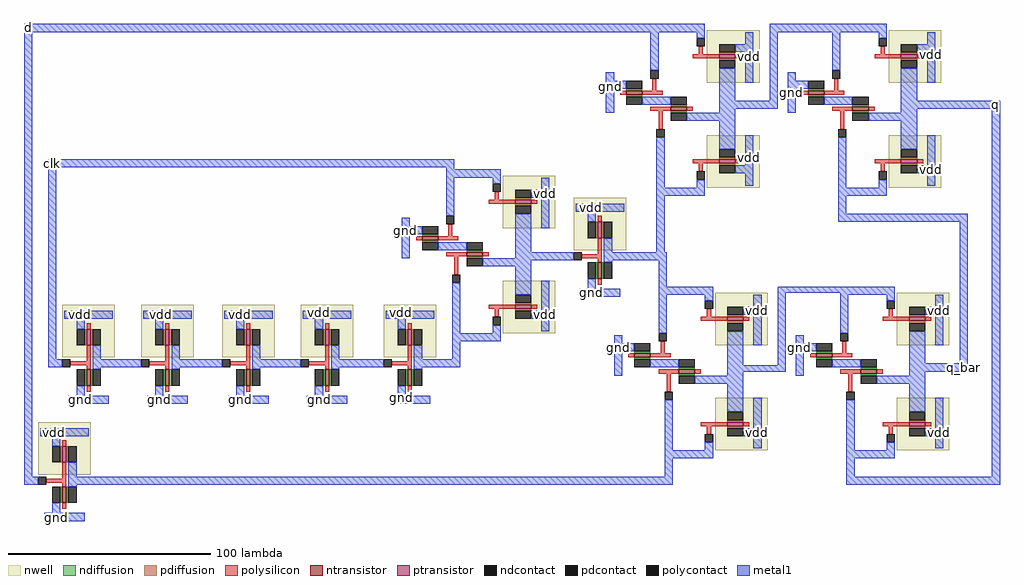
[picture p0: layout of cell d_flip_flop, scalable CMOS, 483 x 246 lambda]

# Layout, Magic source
magic
tech scmos
<< nwell >>
rect 143 83 169 109
rect 233 83 259 109
rect 42 11 68 37
rect 143 31 169 57
rect 233 31 259 57
rect 77 0 103 26
rect -176 -53 -150 -27
rect -137 -53 -111 -27
rect -97 -53 -71 -27
rect -58 -53 -32 -27
rect -17 -53 9 -27
rect 42 -41 68 -15
rect 147 -47 173 -21
rect 237 -47 263 -21
rect -188 -111 -162 -85
rect 147 -99 173 -73
rect 237 -99 263 -73
<< ntransistor >>
rect 103 77 111 79
rect 193 77 201 79
rect 125 69 133 71
rect 215 69 223 71
rect 2 5 10 7
rect 24 -3 32 -1
rect 89 -14 91 -6
rect 107 -53 115 -51
rect 197 -53 205 -51
rect -164 -67 -162 -59
rect -125 -67 -123 -59
rect -85 -67 -83 -59
rect -46 -67 -44 -59
rect -5 -67 -3 -59
rect 129 -61 137 -59
rect 219 -61 227 -59
rect -176 -125 -174 -117
<< ptransistor >>
rect 149 95 157 97
rect 239 95 247 97
rect 149 43 157 45
rect 239 43 247 45
rect 48 23 56 25
rect 89 6 91 14
rect 48 -29 56 -27
rect 153 -35 161 -33
rect 243 -35 251 -33
rect -164 -47 -162 -39
rect -125 -47 -123 -39
rect -85 -47 -83 -39
rect -46 -47 -44 -39
rect -5 -47 -3 -39
rect 153 -87 161 -85
rect 243 -87 251 -85
rect -176 -105 -174 -97
<< ndiffusion >>
rect 103 79 111 80
rect 193 79 201 80
rect 103 76 111 77
rect 193 76 201 77
rect 125 71 133 72
rect 215 71 223 72
rect 125 68 133 69
rect 215 68 223 69
rect 2 7 10 8
rect 2 4 10 5
rect 24 -1 32 0
rect 24 -4 32 -3
rect 88 -14 89 -6
rect 91 -14 92 -6
rect 107 -51 115 -50
rect 197 -51 205 -50
rect 107 -54 115 -53
rect 197 -54 205 -53
rect 129 -59 137 -58
rect 219 -59 227 -58
rect -165 -67 -164 -59
rect -162 -67 -161 -59
rect -126 -67 -125 -59
rect -123 -67 -122 -59
rect -86 -67 -85 -59
rect -83 -67 -82 -59
rect -47 -67 -46 -59
rect -44 -67 -43 -59
rect -6 -67 -5 -59
rect -3 -67 -2 -59
rect 129 -62 137 -61
rect 219 -62 227 -61
rect -177 -125 -176 -117
rect -174 -125 -173 -117
<< pdiffusion >>
rect 149 97 157 98
rect 239 97 247 98
rect 149 94 157 95
rect 239 94 247 95
rect 149 45 157 46
rect 239 45 247 46
rect 149 42 157 43
rect 239 42 247 43
rect 48 25 56 26
rect 48 22 56 23
rect 88 6 89 14
rect 91 6 92 14
rect 48 -27 56 -26
rect 48 -30 56 -29
rect 153 -33 161 -32
rect 243 -33 251 -32
rect 153 -36 161 -35
rect -165 -47 -164 -39
rect -162 -47 -161 -39
rect -126 -47 -125 -39
rect -123 -47 -122 -39
rect -86 -47 -85 -39
rect -83 -47 -82 -39
rect -47 -47 -46 -39
rect -44 -47 -43 -39
rect -6 -47 -5 -39
rect -3 -47 -2 -39
rect 243 -36 251 -35
rect 153 -85 161 -84
rect 243 -85 251 -84
rect 153 -88 161 -87
rect 243 -88 251 -87
rect -177 -105 -176 -97
rect -174 -105 -173 -97
<< ndcontact >>
rect 103 80 111 84
rect 193 80 201 84
rect 103 72 111 76
rect 125 72 133 76
rect 193 72 201 76
rect 215 72 223 76
rect 125 64 133 68
rect 215 64 223 68
rect 2 8 10 12
rect 2 0 10 4
rect 24 0 32 4
rect 24 -8 32 -4
rect 84 -14 88 -6
rect 92 -14 96 -6
rect 107 -50 115 -46
rect 197 -50 205 -46
rect 107 -58 115 -54
rect 129 -58 137 -54
rect 197 -58 205 -54
rect 219 -58 227 -54
rect -169 -67 -165 -59
rect -161 -67 -157 -59
rect -130 -67 -126 -59
rect -122 -67 -118 -59
rect -90 -67 -86 -59
rect -82 -67 -78 -59
rect -51 -67 -47 -59
rect -43 -67 -39 -59
rect -10 -67 -6 -59
rect -2 -67 2 -59
rect 129 -66 137 -62
rect 219 -66 227 -62
rect -181 -125 -177 -117
rect -173 -125 -169 -117
<< pdcontact >>
rect 149 98 157 102
rect 239 98 247 102
rect 149 90 157 94
rect 239 90 247 94
rect 149 46 157 50
rect 239 46 247 50
rect 149 38 157 42
rect 239 38 247 42
rect 48 26 56 30
rect 48 18 56 22
rect 84 6 88 14
rect 92 6 96 14
rect 48 -26 56 -22
rect 48 -34 56 -30
rect 153 -32 161 -28
rect 243 -32 251 -28
rect -169 -47 -165 -39
rect -161 -47 -157 -39
rect -130 -47 -126 -39
rect -122 -47 -118 -39
rect -90 -47 -86 -39
rect -82 -47 -78 -39
rect -51 -47 -47 -39
rect -43 -47 -39 -39
rect -10 -47 -6 -39
rect -2 -47 2 -39
rect 153 -40 161 -36
rect 243 -40 251 -36
rect 153 -84 161 -80
rect 243 -84 251 -80
rect 153 -92 161 -88
rect 243 -92 251 -88
rect -181 -105 -177 -97
rect -173 -105 -169 -97
<< polysilicon >>
rect 139 97 141 101
rect 229 97 231 101
rect 136 95 149 97
rect 157 95 160 97
rect 226 95 239 97
rect 247 95 250 97
rect 116 79 118 85
rect 206 79 208 85
rect 100 77 103 79
rect 111 77 121 79
rect 190 77 193 79
rect 201 77 211 79
rect 115 69 125 71
rect 133 69 136 71
rect 205 69 215 71
rect 223 69 226 71
rect 119 60 121 69
rect 209 60 211 69
rect 136 43 149 45
rect 157 43 160 45
rect 226 43 239 45
rect 247 43 250 45
rect 139 39 141 43
rect 229 39 231 43
rect 38 25 40 29
rect 35 23 48 25
rect 56 23 59 25
rect 89 14 91 17
rect 15 7 17 13
rect -1 5 2 7
rect 10 5 20 7
rect 14 -3 24 -1
rect 32 -3 35 -1
rect 18 -12 20 -3
rect 89 -2 91 6
rect 81 -4 91 -2
rect 89 -6 91 -4
rect 89 -17 91 -14
rect 35 -29 48 -27
rect 56 -29 59 -27
rect 38 -33 40 -29
rect -164 -39 -162 -36
rect -125 -39 -123 -36
rect -85 -39 -83 -36
rect -46 -39 -44 -36
rect -5 -39 -3 -36
rect 143 -33 145 -29
rect 233 -33 235 -29
rect 140 -35 153 -33
rect 161 -35 164 -33
rect 230 -35 243 -33
rect 251 -35 254 -33
rect -164 -55 -162 -47
rect -172 -57 -162 -55
rect -164 -59 -162 -57
rect -125 -55 -123 -47
rect -133 -57 -123 -55
rect -125 -59 -123 -57
rect -85 -55 -83 -47
rect -93 -57 -83 -55
rect -85 -59 -83 -57
rect -46 -55 -44 -47
rect -54 -57 -44 -55
rect -46 -59 -44 -57
rect -5 -55 -3 -47
rect 120 -51 122 -45
rect 210 -51 212 -45
rect 104 -53 107 -51
rect 115 -53 125 -51
rect 194 -53 197 -51
rect 205 -53 215 -51
rect -13 -57 -3 -55
rect -5 -59 -3 -57
rect 119 -61 129 -59
rect 137 -61 140 -59
rect 209 -61 219 -59
rect 227 -61 230 -59
rect -164 -70 -162 -67
rect -125 -70 -123 -67
rect -85 -70 -83 -67
rect -46 -70 -44 -67
rect -5 -70 -3 -67
rect 123 -70 125 -61
rect 213 -70 215 -61
rect 140 -87 153 -85
rect 161 -87 164 -85
rect 230 -87 243 -85
rect 251 -87 254 -85
rect 143 -91 145 -87
rect -176 -97 -174 -94
rect 233 -91 235 -87
rect -176 -113 -174 -105
rect -184 -115 -174 -113
rect -176 -117 -174 -115
rect -176 -128 -174 -125
<< polycontact >>
rect 138 101 142 105
rect 228 101 232 105
rect 115 85 119 89
rect 205 85 209 89
rect 118 56 122 60
rect 208 56 212 60
rect 138 35 142 39
rect 228 35 232 39
rect 37 29 41 33
rect 14 13 18 17
rect 77 -5 81 -1
rect 17 -16 21 -12
rect 142 -29 146 -25
rect 37 -37 41 -33
rect 232 -29 236 -25
rect 119 -45 123 -41
rect 209 -45 213 -41
rect -176 -58 -172 -54
rect -137 -58 -133 -54
rect -97 -58 -93 -54
rect -58 -58 -54 -54
rect -17 -58 -13 -54
rect 122 -74 126 -70
rect 212 -74 216 -70
rect 142 -95 146 -91
rect 232 -95 236 -91
rect -188 -116 -184 -112
<< metal1 >>
rect -195 108 142 112
rect 174 108 232 112
rect -195 -112 -191 108
rect 115 89 119 108
rect 138 105 142 108
rect 162 102 166 108
rect 157 98 166 102
rect 93 84 97 88
rect 93 80 103 84
rect 93 68 97 80
rect 111 72 125 76
rect 149 74 157 90
rect 162 83 166 98
rect 174 74 178 108
rect 205 89 209 108
rect 228 105 232 108
rect 252 102 256 108
rect 247 98 256 102
rect 149 70 178 74
rect 183 84 187 88
rect 183 80 193 84
rect 149 68 157 70
rect 183 68 187 80
rect 201 72 215 76
rect 239 74 247 90
rect 252 83 256 98
rect 239 70 288 74
rect 239 68 247 70
rect 133 64 157 68
rect 223 64 247 68
rect -183 41 18 45
rect -183 -54 -179 41
rect 14 40 18 41
rect 14 36 41 40
rect 14 17 18 36
rect 37 33 41 36
rect 61 30 65 36
rect 56 26 65 30
rect -8 12 -4 16
rect -8 8 2 12
rect -8 -4 -4 8
rect 10 0 24 4
rect 48 -1 56 18
rect 61 11 65 26
rect 118 31 122 56
rect 149 50 157 64
rect 162 42 166 57
rect 157 38 166 42
rect 138 31 142 35
rect 162 32 166 38
rect 118 27 142 31
rect 208 31 212 56
rect 239 50 247 64
rect 252 42 256 57
rect 247 38 256 42
rect 228 31 232 35
rect 252 32 256 38
rect 208 27 232 31
rect 78 19 102 23
rect 84 14 88 19
rect 92 -1 96 6
rect 118 -1 122 27
rect 208 18 212 27
rect 208 14 272 18
rect 48 -4 77 -1
rect 32 -5 77 -4
rect 92 -5 123 -1
rect 32 -8 56 -5
rect 92 -6 96 -5
rect -175 -34 -151 -30
rect -136 -34 -112 -30
rect -96 -34 -72 -30
rect -57 -34 -33 -30
rect -16 -34 8 -30
rect -169 -39 -165 -34
rect -130 -39 -126 -34
rect -90 -39 -86 -34
rect -51 -39 -47 -34
rect -10 -39 -6 -34
rect -161 -54 -157 -47
rect -122 -54 -118 -47
rect -82 -54 -78 -47
rect -43 -54 -39 -47
rect -2 -54 2 -47
rect 17 -41 21 -16
rect 48 -22 56 -8
rect 61 -30 65 -15
rect 84 -19 88 -14
rect 119 -18 123 -5
rect 80 -23 100 -19
rect 119 -22 146 -18
rect 178 -21 236 -18
rect 56 -34 65 -30
rect 37 -41 41 -37
rect 61 -40 65 -34
rect 17 -45 41 -41
rect 119 -41 123 -22
rect 142 -25 146 -22
rect 166 -28 170 -22
rect 161 -32 170 -28
rect 17 -54 21 -45
rect -183 -58 -176 -54
rect -161 -58 -137 -54
rect -122 -58 -97 -54
rect -82 -58 -58 -54
rect -43 -58 -17 -54
rect -2 -58 21 -54
rect 97 -46 101 -42
rect 97 -50 107 -46
rect -161 -59 -157 -58
rect -122 -59 -118 -58
rect -82 -59 -78 -58
rect -43 -59 -39 -58
rect -2 -59 2 -58
rect 97 -62 101 -50
rect 115 -58 129 -54
rect 153 -57 161 -40
rect 166 -47 170 -32
rect 178 -57 182 -21
rect 209 -22 236 -21
rect 209 -41 213 -22
rect 232 -25 236 -22
rect 256 -28 260 -22
rect 251 -32 260 -28
rect 153 -60 182 -57
rect 187 -46 191 -42
rect 187 -50 197 -46
rect 153 -62 161 -60
rect 187 -62 191 -50
rect 205 -58 219 -54
rect 243 -56 251 -40
rect 256 -47 260 -32
rect 268 -56 272 14
rect 243 -60 272 -56
rect 243 -62 251 -60
rect 137 -66 161 -62
rect 227 -66 251 -62
rect -169 -72 -165 -67
rect -130 -72 -126 -67
rect -90 -72 -86 -67
rect -51 -72 -47 -67
rect -10 -72 -6 -67
rect -173 -76 -153 -72
rect -134 -76 -114 -72
rect -94 -76 -74 -72
rect -55 -76 -35 -72
rect -14 -76 6 -72
rect -187 -92 -163 -88
rect -181 -97 -177 -92
rect -173 -112 -169 -105
rect 122 -99 126 -74
rect 153 -80 161 -66
rect 166 -88 170 -73
rect 161 -92 170 -88
rect 142 -99 146 -95
rect 166 -98 170 -92
rect 122 -103 146 -99
rect 212 -99 216 -74
rect 243 -80 251 -66
rect 256 -88 260 -73
rect 251 -92 260 -88
rect 232 -99 236 -95
rect 256 -98 260 -92
rect 212 -103 236 -99
rect 122 -112 126 -103
rect -195 -116 -188 -112
rect -173 -116 126 -112
rect 212 -112 216 -103
rect 284 -112 288 70
rect 212 -116 288 -112
rect -173 -117 -169 -116
rect -181 -130 -177 -125
rect -185 -134 -165 -130
<< labels >>
rlabel metal1 95 81 95 81 1 gnd
rlabel metal1 164 96 164 96 1 vdd
rlabel metal1 164 46 164 46 1 vdd
rlabel metal1 168 -30 168 -30 1 vdd
rlabel metal1 168 -90 168 -90 1 vdd
rlabel metal1 99 -48 99 -48 1 gnd
rlabel metal1 86 21 86 21 1 vdd
rlabel metal1 86 -21 86 -21 1 gnd
rlabel metal1 63 28 63 28 1 vdd
rlabel metal1 63 -32 63 -32 1 vdd
rlabel metal1 -6 10 -6 10 1 gnd
rlabel metal1 -167 -32 -167 -32 1 vdd
rlabel metal1 -127 -32 -127 -32 1 vdd
rlabel metal1 -128 -74 -128 -74 1 gnd
rlabel metal1 -167 -74 -167 -74 1 gnd
rlabel metal1 -88 -32 -88 -32 1 vdd
rlabel metal1 -88 -74 -88 -74 1 gnd
rlabel metal1 -49 -31 -49 -31 1 vdd
rlabel metal1 -49 -74 -49 -74 1 gnd
rlabel metal1 -8 -31 -8 -31 1 vdd
rlabel metal1 -8 -73 -8 -73 1 gnd
rlabel metal1 -179 -132 -179 -132 1 gnd
rlabel metal1 -180 -90 -180 -90 1 vdd
rlabel metal1 -181 43 -181 43 4 clk
rlabel metal1 -193 110 -193 110 4 d
rlabel metal1 185 78 185 78 1 gnd
rlabel metal1 254 40 254 40 1 vdd
rlabel metal1 254 97 254 97 1 vdd
rlabel metal1 189 -48 189 -48 1 gnd
rlabel metal1 258 -90 258 -90 7 vdd
rlabel metal1 258 -30 258 -30 7 vdd
rlabel metal1 270 -58 270 -58 1 q_bar
rlabel metal1 286 72 286 72 7 q
<< end >>
